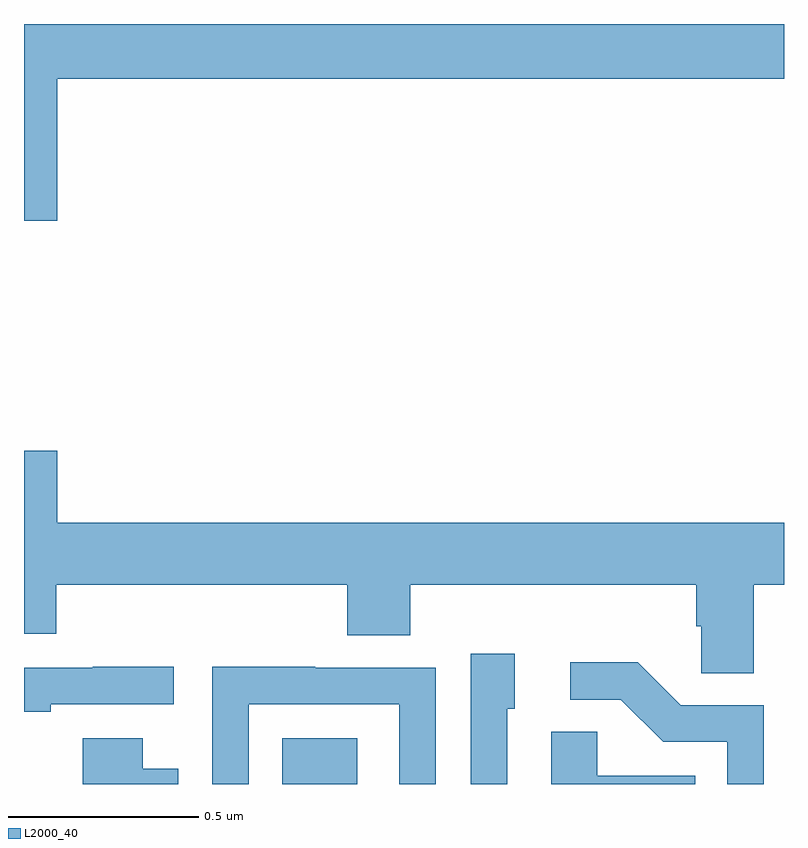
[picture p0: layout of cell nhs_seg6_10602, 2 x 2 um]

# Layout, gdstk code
import gdstk
lib = gdstk.Library(unit=1e-6, precision=1e-09)
def R(c, l, rs):  # rectangles x0, y0, x1, y1
    for r in rs: c.add(gdstk.rectangle(r[:2], r[2:], *l))
def P(c, l, *ps):  # polygons
    for p in ps: c.add(gdstk.Polygon(p, *l))
L2000_40 = (2000, 40)

nhs_seg6_10602 = lib.new_cell('nhs_seg6_10602')
R(nhs_seg6_10602, L2000_40, [(249.68,925.5,249.877,925.621)])
P(nhs_seg6_10602, L2000_40, [(249.088,927.356),(251,927.356),(251,927.5),(249,927.5),(249,926.982),(249.088,926.982)],
  [(250.921,926.024),(251,926.024),(251,926.188),(249.088,926.188),(249.088,926.377),(249,926.377),(249,925.896),(249.085,925.896),(249.085,926.024),(249.851,926.024),(249.851,925.891),(250.016,925.891),(250.016,926.024),(250.769,926.024),(250.769,925.915),(250.782,925.915),(250.782,925.792),(250.921,925.792)],
  [(250.272,925.698),(250.291,925.698),(250.291,925.843),(250.176,925.843),(250.176,925.5),(250.272,925.5)],
  [(250.947,925.707),(250.728,925.707),(250.615,925.82),(250.437,925.82),(250.437,925.722),(250.571,925.722),(250.682,925.611),(250.851,925.611),(250.851,925.5),(250.947,925.5)],
  [(249.591,925.71),(249.987,925.71),(249.987,925.5),(250.083,925.5),(250.083,925.806),(249.767,925.806),(249.767,925.808),(249.495,925.808),(249.495,925.5),(249.591,925.5)],
  [(249.07,925.71),(249.394,925.71),(249.394,925.808),(249.181,925.808),(249.181,925.806),(249,925.806),(249,925.69),(249.07,925.69)],
  [(250.766,925.522),(250.509,925.522),(250.509,925.637),(250.388,925.637),(250.388,925.5),(250.766,925.5)],
  [(249.406,925.54),(249.313,925.54),(249.313,925.621),(249.155,925.621),(249.155,925.5),(249.406,925.5)])

lib.write_gds('nhs_seg6_10602.gds')
